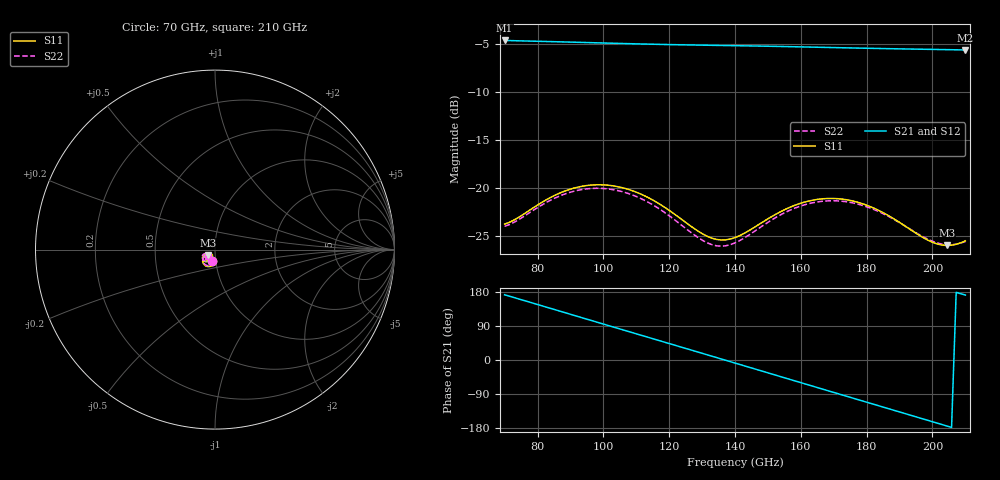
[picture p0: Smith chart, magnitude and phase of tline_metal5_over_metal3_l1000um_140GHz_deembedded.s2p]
! Created with skrf 2.0.1 (http://scikit-rf.org).
# GHz S DB R 50.0
!freq dBS11 angS11 dBS21 angS21 dBS12 angS12 dBS22 angS22
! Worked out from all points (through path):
!   101 points, 70 GHz to 210 GHz, reference 50 ohm
!   highest |S21| = -4.67 dB at 70 GHz (marker M1); lowest = -5.7 dB at 210 GHz (marker M2)
!   group delay of S21, straight-line fit = 7.16 ps
!   lowest |S11| = -25.9 dB at 204.4 GHz (marker M3), VSWR 1.11, Z = 46.2 - j3.03 ohm
!   |S11| at or under -10 dB: start of sweep to end of sweep
!   |S22| runs from -26.0 to -20.0 dB; largest |S21 - S12| = 6.6e-14
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70  -23.72 -104.4  -4.67 172.1  -4.67 172.1  -23.95 -105.2
75.6  -22.73 -98.4  -4.71 157.8  -4.71 157.8  -22.98 -99.5
81.2  -21.49 -98.9  -4.76 143.4  -4.76 143.4  -21.76 -100.3
88.2  -20.31 -105.3  -4.82 125.3  -4.82 125.3  -20.61 -107.1
93.8  -19.78 -112.8  -4.87 110.8  -4.87 110.8  -20.12 -114.8
99.4  -19.64 -121.0  -4.92 96.4  -4.92 96.4  -20.02 -123.3
105  -19.88 -129.2  -4.98 82.0  -4.98 82.0  -20.29 -131.8
110.6  -20.49 -136.7  -5.02 67.6  -5.02 67.6  -20.95 -139.5
117.6  -21.75 -143.6  -5.08 49.6  -5.08 49.6  -22.28 -146.6
128.8  -24.46 -143.0  -5.15 20.8  -5.15 20.8  -25.13 -145.5
134.4  -25.32 -135.1  -5.18 6.4  -5.18 6.4  -25.98 -136.9
140  -25.13 -125.7  -5.21 -8.0  -5.21 -8.0  -25.68 -127.0
151.2  -22.93 -119.7  -5.27 -37.0  -5.27 -37.0  -23.28 -121.6
158.2  -21.77 -124.2  -5.32 -55.1  -5.32 -55.1  -22.06 -126.7
163.8  -21.23 -130.0  -5.36 -69.6  -5.36 -69.6  -21.50 -132.9
169.4  -21.06 -136.6  -5.40 -84.0  -5.40 -84.0  -21.30 -139.8
175  -21.27 -143.1  -5.44 -98.5  -5.44 -98.5  -21.47 -146.6
180.6  -21.84 -148.9  -5.48 -112.9  -5.48 -112.9  -22.00 -152.7
187.6  -23.04 -153.5  -5.52 -130.9  -5.52 -130.9  -23.11 -157.8
196  -24.89 -151.7  -5.57 -152.6  -5.57 -152.6  -24.82 -157.3
204.4  -25.94 -139.7  -5.62 -174.3  -5.62 -174.3  -25.86 -147.4
210  -25.47 -130.7  -5.65 171.3  -5.65 171.3  -25.53 -139.5
